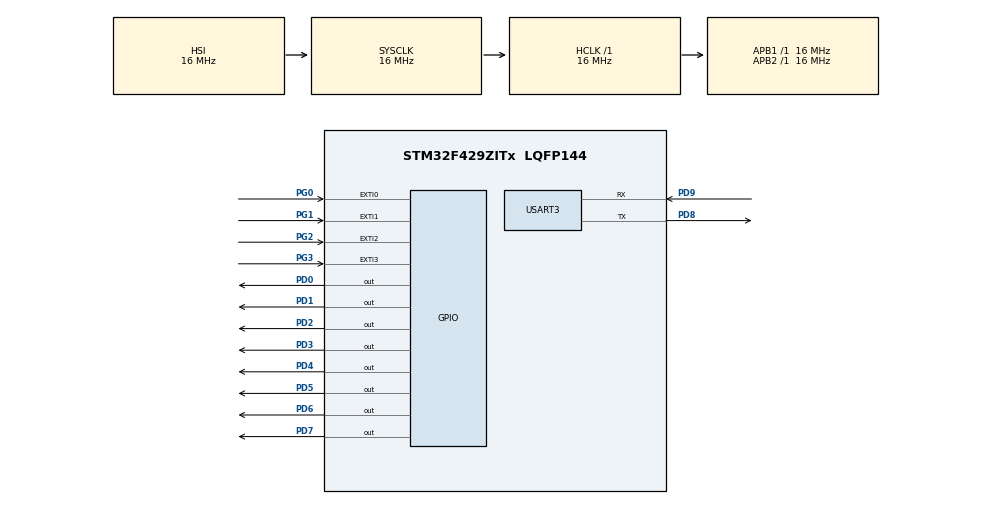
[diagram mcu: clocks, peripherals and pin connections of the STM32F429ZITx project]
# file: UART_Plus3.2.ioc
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Mcu.Family=STM32F4
Mcu.Name=STM32F429ZITx
Mcu.Package=LQFP144
NVIC.EXTI0_IRQn=true\:0\:0\:false\:false\:true\:true\:true\:true
NVIC.EXTI1_IRQn=true\:0\:0\:false\:false\:true\:true\:true\:true
NVIC.EXTI2_IRQn=true\:0\:0\:false\:false\:true\:true\:true\:true
NVIC.EXTI3_IRQn=true\:0\:0\:false\:false\:true\:true\:true\:true
NVIC.PriorityGroup=NVIC_PRIORITYGROUP_4
NVIC.USART3_IRQn=true\:0\:0\:false\:false\:true\:true\:true\:true
PD0.GPIO_ModeDefaultOutputPP=GPIO_MODE_OUTPUT_PP
PD0.GPIO_PuPd=GPIO_PULLUP
PD0.GPIO_Speed=GPIO_SPEED_FREQ_HIGH
PD0.PinState=GPIO_PIN_RESET
PD0.Signal=GPIO_Output
PD1.GPIO_ModeDefaultOutputPP=GPIO_MODE_OUTPUT_PP
PD1.GPIO_PuPd=GPIO_PULLUP
PD1.GPIO_Speed=GPIO_SPEED_FREQ_HIGH
PD1.PinState=GPIO_PIN_RESET
PD1.Signal=GPIO_Output
PD2.GPIO_ModeDefaultOutputPP=GPIO_MODE_OUTPUT_PP
PD2.GPIO_PuPd=GPIO_PULLUP
PD2.GPIO_Speed=GPIO_SPEED_FREQ_HIGH
PD2.PinState=GPIO_PIN_RESET
PD2.Signal=GPIO_Output
PD3.GPIO_ModeDefaultOutputPP=GPIO_MODE_OUTPUT_PP
PD3.GPIO_PuPd=GPIO_PULLUP
PD3.GPIO_Speed=GPIO_SPEED_FREQ_HIGH
PD3.PinState=GPIO_PIN_RESET
PD3.Signal=GPIO_Output
PD4.GPIO_ModeDefaultOutputPP=GPIO_MODE_OUTPUT_PP
PD4.GPIO_PuPd=GPIO_PULLUP
PD4.GPIO_Speed=GPIO_SPEED_FREQ_HIGH
PD4.PinState=GPIO_PIN_RESET
PD4.Signal=GPIO_Output
PD5.GPIO_ModeDefaultOutputPP=GPIO_MODE_OUTPUT_PP
PD5.GPIO_PuPd=GPIO_PULLUP
PD5.GPIO_Speed=GPIO_SPEED_FREQ_HIGH
PD5.PinState=GPIO_PIN_RESET
PD5.Signal=GPIO_Output
PD6.GPIO_ModeDefaultOutputPP=GPIO_MODE_OUTPUT_PP
PD6.GPIO_PuPd=GPIO_PULLUP
PD6.GPIO_Speed=GPIO_SPEED_FREQ_HIGH
PD6.PinState=GPIO_PIN_RESET
PD6.Signal=GPIO_Output
PD7.GPIO_ModeDefaultOutputPP=GPIO_MODE_OUTPUT_PP
PD7.GPIO_PuPd=GPIO_PULLUP
PD7.GPIO_Speed=GPIO_SPEED_FREQ_HIGH
PD7.PinState=GPIO_PIN_RESET
PD7.Signal=GPIO_Output
PD8.Mode=Asynchronous
PD8.Signal=USART3_TX
PD9.Mode=Asynchronous
PD9.Signal=USART3_RX
PG0.GPIO_ModeDefaultEXTI=GPIO_MODE_IT_FALLING
PG0.GPIO_PuPd=GPIO_NOPULL
PG0.Signal=GPXTI0
PG1.GPIO_ModeDefaultEXTI=GPIO_MODE_IT_FALLING
PG1.GPIO_PuPd=GPIO_NOPULL
PG1.Signal=GPXTI1
PG2.GPIO_ModeDefaultEXTI=GPIO_MODE_IT_FALLING
PG2.GPIO_PuPd=GPIO_NOPULL
PG2.Signal=GPXTI2
PG3.GPIO_ModeDefaultEXTI=GPIO_MODE_IT_FALLING
PG3.GPIO_PuPd=GPIO_NOPULL
PG3.Signal=GPXTI3
ProjectManager.HeapSize=0x200
ProjectManager.StackSize=0x400
ProjectManager.TargetToolchain=STM32CubeIDE
RCC.AHBFreq_Value=16000000
RCC.APB1Freq_Value=16000000
RCC.APB2Freq_Value=16000000
RCC.CortexFreq_Value=16000000
RCC.HSE_VALUE=25000000
RCC.HSI_VALUE=16000000
RCC.LSE_VALUE=32768
RCC.SYSCLKFreq_VALUE=16000000
RCC.VCOOutputFreq_Value=192000000
USART3.VirtualMode=VM_ASYNC
board=custom

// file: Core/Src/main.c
/* USER CODE BEGIN Header */
/**
  ******************************************************************************
  * @file           : main.c
  * @brief          : Main program body
  ******************************************************************************
  * @attention
  *
  * Copyright (c) 2022 STMicroelectronics.
  * All rights reserved.
  *
  * This software is licensed under terms that can be found in the LICENSE file
  * in the root directory of this software component.
  * If no LICENSE file comes with this software, it is provided AS-IS.
  *
  ******************************************************************************
  */
/* USER CODE END Header */
#include "main.h"

/* USER CODE BEGIN PD */
#define TxBufferSize   (countof(TxBuffer)-1)
#define TxBufferSize_2   (countof(TxBuffer_2)-1)
#define TxBufferSize_3   (countof(TxBuffer_3)-1)
#define TxBufferSize_4   (countof(TxBuffer_4)-1)
#define TxBufferSize_5   (countof(TxBuffer_5)-1)
#define TxBufferSize_6   (countof(TxBuffer_6)-1)
#define TxBufferSize_7   (countof(TxBuffer_7)-1)
#define TxBufferSize_8   (countof(TxBuffer_8)-1)
#define TxBufferSize_9   (countof(TxBuffer_9)-1)
#define RxBufferSize   0XFF
#define countof(a)      (sizeof(a) / sizeof(*(a)))
/* USER CODE END PD */

UART_HandleTypeDef huart3;

/* USER CODE BEGIN PV */
uint8_t TxBuffer[] = "\n\rUART Plus Example 3.2 (Transmission Success !!)\n\r\n\r";
uint8_t TxBuffer_2[] = "\n\r LED 1 is ON ! \n\r";
uint8_t TxBuffer_3[] = "\n\r  LED 1 is OFF ! \n\r";
uint8_t TxBuffer_4[] = "\n\r   LED 2 is ON ! \n\r";
uint8_t TxBuffer_5[] = "\n\r    LED 2 is OFF ! \n\r";
uint8_t TxBuffer_6[] = "\n\r     LED 3 is ON ! \n\r";
uint8_t TxBuffer_7[] = "\n\r      LED 3 is OFF ! \n\r";
uint8_t TxBuffer_8[] = "\n\r       LED 4 is ON ! \n\r";
uint8_t TxBuffer_9[] = "\n\r        LED 4 is OFF ! \n\r";
uint8_t RxBuffer[RxBufferSize];
/* USER CODE END PV */

void SystemClock_Config(void);
static void MX_GPIO_Init(void);
static void MX_USART3_UART_Init(void);
/* USER CODE BEGIN PFP */
void LED_OnOff(int, int);
/* USER CODE END PFP */

int main(void)
{
   uint16_t data;

  /* MCU Configuration--------------------------------------------------------*/

  /* Reset of all peripherals, Initializes the Flash interface and the Systick. */
  HAL_Init();

  /* Configure the system clock */
  SystemClock_Config();

  /* Initialize all configured peripherals */
  MX_GPIO_Init();
  MX_USART3_UART_Init();
  /* USER CODE BEGIN 2 */
  LED_OnOff(LED_ALL, 500);
  HAL_UART_Transmit(&huart3, (uint8_t*)TxBuffer, TxBufferSize, 0xFFFF);
  /* USER CODE END 2 */

  /* Infinite loop */
  /* USER CODE BEGIN WHILE */
  while (1)
  {
     if(HAL_UART_Receive(&huart3, &data, sizeof(data), 5000)== HAL_OK)
     {
        if(data == '11'){
           HAL_UART_Transmit(&huart3,(uint8_t*)TxBuffer_2 , TxBufferSize_2, 0xFFFF);
           LED_On(0x01);
        }
        if(data == '01'){
           HAL_UART_Transmit(&huart3,(uint8_t*)TxBuffer_3 , TxBufferSize_3, 0xFFFF);
           LED_Off(0x01);
        }
        if(data == '12'){
           HAL_UART_Transmit(&huart3,(uint8_t*)TxBuffer_4 , TxBufferSize_4, 0xFFFF);
           LED_On(0x02);
        }
        if(data == '02'){
           HAL_UART_Transmit(&huart3,(uint8_t*)TxBuffer_5 , TxBufferSize_5, 0xFFFF);
           LED_Off(0x02);
        }
        if(data == '13'){
           HAL_UART_Transmit(&huart3,(uint8_t*)TxBuffer_6 , TxBufferSize_6, 0xFFFF);
           LED_On(0x04);
        }
        if(data == '03'){
           HAL_UART_Transmit(&huart3,(uint8_t*)TxBuffer_7 , TxBufferSize_7, 0xFFFF);
           LED_Off(0x04);
        }
        if(data == '14'){
           HAL_UART_Transmit(&huart3,(uint8_t*)TxBuffer_8 , TxBufferSize_8, 0xFFFF);
           LED_On(0x08);
        }
        if(data == '04'){
           HAL_UART_Transmit(&huart3,(uint8_t*)TxBuffer_9 , TxBufferSize_9, 0xFFFF);
           LED_Off(0x08);
        }
     }
    /* USER CODE END WHILE */

  }
}

void SystemClock_Config(void)
{
  RCC_OscInitTypeDef RCC_OscInitStruct = {0};
  RCC_ClkInitTypeDef RCC_ClkInitStruct = {0};

  /** Configure the main internal regulator output voltage
  */
  __HAL_RCC_PWR_CLK_ENABLE();
  __HAL_PWR_VOLTAGESCALING_CONFIG(PWR_REGULATOR_VOLTAGE_SCALE3);

  /** Initializes the RCC Oscillators according to the specified parameters
  * in the RCC_OscInitTypeDef structure.
  */
  RCC_OscInitStruct.OscillatorType = RCC_OSCILLATORTYPE_HSI;
  RCC_OscInitStruct.HSIState = RCC_HSI_ON;
  RCC_OscInitStruct.HSICalibrationValue = RCC_HSICALIBRATION_DEFAULT;
  RCC_OscInitStruct.PLL.PLLState = RCC_PLL_NONE;
  if (HAL_RCC_OscConfig(&RCC_OscInitStruct) != HAL_OK)
  {
    Error_Handler();
  }

  /** Initializes the CPU, AHB and APB buses clocks
  */
  RCC_ClkInitStruct.ClockType = RCC_CLOCKTYPE_HCLK|RCC_CLOCKTYPE_SYSCLK
                              |RCC_CLOCKTYPE_PCLK1|RCC_CLOCKTYPE_PCLK2;
  RCC_ClkInitStruct.SYSCLKSource = RCC_SYSCLKSOURCE_HSI;
  RCC_ClkInitStruct.AHBCLKDivider = RCC_SYSCLK_DIV1;
  RCC_ClkInitStruct.APB1CLKDivider = RCC_HCLK_DIV1;
  RCC_ClkInitStruct.APB2CLKDivider = RCC_HCLK_DIV1;

  if (HAL_RCC_ClockConfig(&RCC_ClkInitStruct, FLASH_LATENCY_0) != HAL_OK)
  {
    Error_Handler();
  }
}

static void MX_USART3_UART_Init(void)
{

  huart3.Instance = USART3;
  huart3.Init.BaudRate = 115200;
  huart3.Init.WordLength = UART_WORDLENGTH_8B;
  huart3.Init.StopBits = UART_STOPBITS_1;
  huart3.Init.Parity = UART_PARITY_NONE;
  huart3.Init.Mode = UART_MODE_TX_RX;
  huart3.Init.HwFlowCtl = UART_HWCONTROL_NONE;
  huart3.Init.OverSampling = UART_OVERSAMPLING_16;
  if (HAL_UART_Init(&huart3) != HAL_OK)
  {
    Error_Handler();
  }

}

static void MX_GPIO_Init(void)
{
  GPIO_InitTypeDef GPIO_InitStruct = {0};

  /* GPIO Ports Clock Enable */
  __HAL_RCC_GPIOG_CLK_ENABLE();
  __HAL_RCC_GPIOD_CLK_ENABLE();

  /*Configure GPIO pin Output Level */
  HAL_GPIO_WritePin(GPIOD, GPIO_PIN_0|GPIO_PIN_1|GPIO_PIN_2|GPIO_PIN_3
                          |GPIO_PIN_4|GPIO_PIN_5|GPIO_PIN_6|GPIO_PIN_7, GPIO_PIN_RESET);

  /*Configure GPIO pins : PG0 PG1 PG2 PG3 */
  GPIO_InitStruct.Pin = GPIO_PIN_0|GPIO_PIN_1|GPIO_PIN_2|GPIO_PIN_3;
  GPIO_InitStruct.Mode = GPIO_MODE_IT_FALLING;
  GPIO_InitStruct.Pull = GPIO_NOPULL;
  HAL_GPIO_Init(GPIOG, &GPIO_InitStruct);

  /*Configure GPIO pins : PD0 PD1 PD2 PD3
                           PD4 PD5 PD6 PD7 */
  GPIO_InitStruct.Pin = GPIO_PIN_0|GPIO_PIN_1|GPIO_PIN_2|GPIO_PIN_3
                          |GPIO_PIN_4|GPIO_PIN_5|GPIO_PIN_6|GPIO_PIN_7;
  GPIO_InitStruct.Mode = GPIO_MODE_OUTPUT_PP;
  GPIO_InitStruct.Pull = GPIO_PULLUP;
  GPIO_InitStruct.Speed = GPIO_SPEED_FREQ_HIGH;
  HAL_GPIO_Init(GPIOD, &GPIO_InitStruct);

  /* EXTI interrupt init*/
  HAL_NVIC_SetPriority(EXTI0_IRQn, 0, 0);
  HAL_NVIC_EnableIRQ(EXTI0_IRQn);

  HAL_NVIC_SetPriority(EXTI1_IRQn, 0, 0);
  HAL_NVIC_EnableIRQ(EXTI1_IRQn);

  HAL_NVIC_SetPriority(EXTI2_IRQn, 0, 0);
  HAL_NVIC_EnableIRQ(EXTI2_IRQn);

  HAL_NVIC_SetPriority(EXTI3_IRQn, 0, 0);
  HAL_NVIC_EnableIRQ(EXTI3_IRQn);

}

/* USER CODE BEGIN 4 */
void LED_OnOff(int led, int interval)
{
   HAL_GPIO_WritePin(GPIO_LED, led, GPIO_PIN_SET);
   HAL_GPIO_WritePin(GPIO_LED_Nucleo, led, GPIO_PIN_SET);
   HAL_Delay(interval);
   HAL_GPIO_WritePin(GPIO_LED, led, GPIO_PIN_RESET);
   HAL_GPIO_WritePin(GPIO_LED_Nucleo, led, GPIO_PIN_RESET);
}
void LED_On(int led)
{
	   HAL_GPIO_WritePin(GPIO_LED, led, GPIO_PIN_SET);
	   HAL_GPIO_WritePin(GPIO_LED_Nucleo, led, GPIO_PIN_SET);
}
void LED_Off(int led)
{
	HAL_GPIO_WritePin(GPIO_LED, led, GPIO_PIN_RESET);
	HAL_GPIO_WritePin(GPIO_LED_Nucleo, led, GPIO_PIN_RESET);
}
/* USER CODE END 4 */
void Error_Handler(void)
{
  __disable_irq();
  while (1)
  {
  }
}
